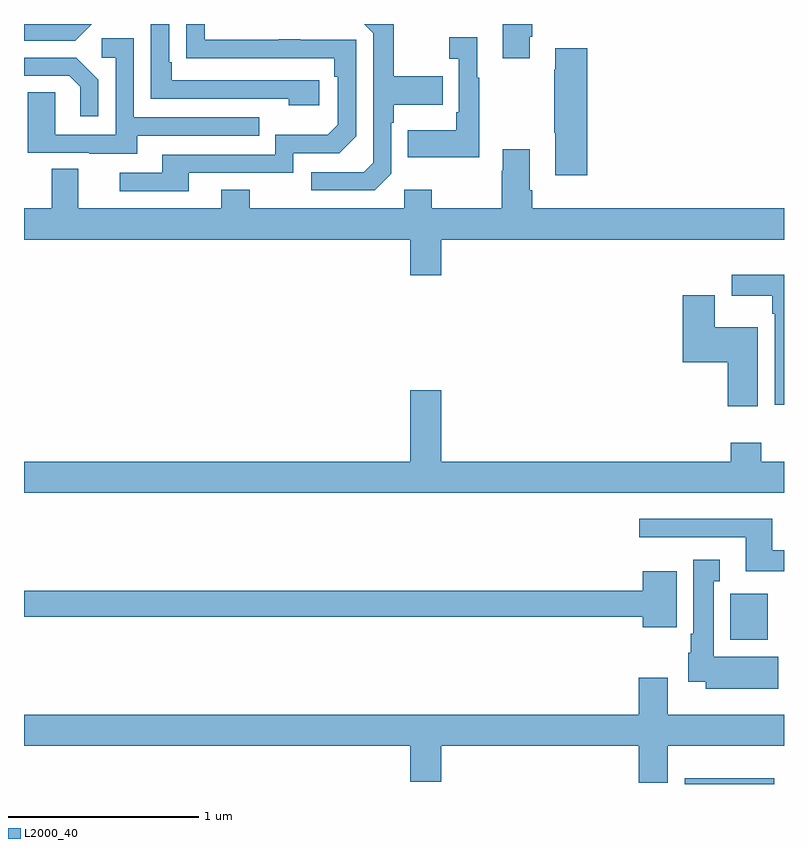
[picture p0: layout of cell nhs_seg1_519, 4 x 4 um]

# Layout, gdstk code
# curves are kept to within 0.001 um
import gdstk
lib = gdstk.Library(unit=1e-6, precision=1e-09)
def R(c, l, rs):  # rectangles x0, y0, x1, y1
    for r in rs: c.add(gdstk.rectangle(r[:2], r[2:], *l))
def P(c, l, *ps):  # polygons
    for p in ps: c.add(gdstk.Polygon(p, *l))
L2000_40 = (2000, 40)

nhs_seg1_519 = lib.new_cell('nhs_seg1_519')
R(nhs_seg1_519, L2000_40, [(142.478,550.199,142.948,550.228), (142.718,550.958,142.915,551.2)])
P(nhs_seg1_519, L2000_40, [(139.867,553.416),(140.418,553.416),(140.418,553.518),(140.658,553.518),(140.748,553.608),(140.748,554.115),(140.453,554.115),(140.453,554.12),(140.341,554.12),(140.341,554.115),(139.951,554.115),(139.951,554.199),(139.855,554.199),(139.855,554.02),(140.632,554.019),(140.632,553.922),(140.652,553.922),(140.652,553.668),(140.599,553.615),(140.322,553.615),(140.322,553.512),(139.727,553.512),(139.727,553.416),(139.503,553.416),(139.503,553.32),(139.867,553.32)],
  [(140.554,553.902),(139.777,553.902),(139.777,553.999),(139.764,553.999),(139.764,554.199),(139.668,554.199),(139.668,553.806),(140.393,553.806),(140.393,553.772),(140.554,553.772)],
  [(139.356,554.199),(139,554.199),(139,554.112),(139.269,554.112)],
  [(141.661,554.131),(141.674,554.131),(141.674,554.199),(141.521,554.199),(141.521,554.019),(141.661,554.019)],
  [(140.934,553.41),(140.934,553.679),(140.947,553.679),(140.947,553.775),(141.203,553.775),(141.203,553.923),(140.947,553.923),(140.947,554.195),(140.943,554.199),(140.79,554.199),(140.838,554.151),(140.838,553.47),(140.787,553.419),(140.511,553.419),(140.511,553.323),(140.847,553.323)],
  [(141.397,553.915),(141.385,553.915),(141.385,554.128),(141.237,554.128),(141.237,554.015),(141.288,554.015),(141.288,553.735),(141.276,553.735),(141.276,553.639),(141.019,553.639),(141.019,553.499),(141.397,553.499)],
  [(139.597,553.611),(140.237,553.611),(140.237,553.707),(139.578,553.707),(139.578,554.123),(139.41,554.123),(139.41,554.022),(139.482,554.022),(139.482,553.617),(139.164,553.617),(139.164,553.841),(139.019,553.841),(139.019,553.521),(139.343,553.521),(139.343,553.517),(139.597,553.517)],
  [(141.965,554.071),(141.797,554.071),(141.797,553.958),(141.79,553.958),(141.79,553.627),(141.797,553.627),(141.797,553.404),(141.965,553.404)],
  [(139.392,553.906),(139.276,554.022),(139,554.022),(139,553.926),(139.238,553.926),(139.295,553.869),(139.295,553.713),(139.392,553.713)],
  [(141.196,553.064),(143,553.064),(143,553.228),(141.674,553.228),(141.674,553.324),(141.661,553.324),(141.661,553.54),(141.521,553.54),(141.521,553.427),(141.514,553.427),(141.514,553.228),(141.147,553.228),(141.147,553.327),(141,553.327),(141,553.228),(140.187,553.228),(140.187,553.327),(140.039,553.327),(140.039,553.228),(139.285,553.228),(139.285,553.436),(139.145,553.436),(139.145,553.228),(139,553.228),(139,553.064),(141.032,553.064),(141.032,552.876),(141.196,552.876)],
  [(143,552.878),(142.725,552.878),(142.725,552.77),(142.938,552.77),(142.938,552.674),(142.95,552.674),(142.95,552.195),(143,552.195)],
  [(142.861,552.604),(142.636,552.604),(142.636,552.772),(142.466,552.772),(142.466,552.419),(142.703,552.419),(142.703,552.186),(142.861,552.186)],
  [(143,551.896),(142.881,551.896),(142.881,551.995),(142.721,551.995),(142.721,551.896),(141.196,551.896),(141.196,552.271),(141.032,552.271),(141.032,551.896),(139,551.896),(139,551.732),(143,551.732)],
  [(143,551.428),(142.939,551.428),(142.939,551.596),(142.239,551.596),(142.239,551.499),(142.799,551.499),(142.799,551.318),(143,551.318)],
  [(142.969,550.87),(142.63,550.87),(142.63,551.267),(142.663,551.267),(142.663,551.38),(142.523,551.38),(142.523,550.99),(142.508,550.99),(142.508,550.89),(142.496,550.89),(142.496,550.736),(142.589,550.736),(142.589,550.7),(142.969,550.7)],
  [(142.435,551.32),(142.256,551.32),(142.256,551.216),(139,551.216),(139,551.08),(142.256,551.08),(142.256,551.024),(142.435,551.024)],
  [(142.387,550.4),(143,550.4),(143,550.564),(142.387,550.564),(142.387,550.759),(142.235,550.759),(142.235,550.564),(139,550.564),(139,550.4),(141.032,550.4),(141.032,550.212),(141.196,550.212),(141.196,550.4),(142.235,550.4),(142.235,550.206),(142.387,550.206)])

lib.write_gds('nhs_seg1_519.gds')
